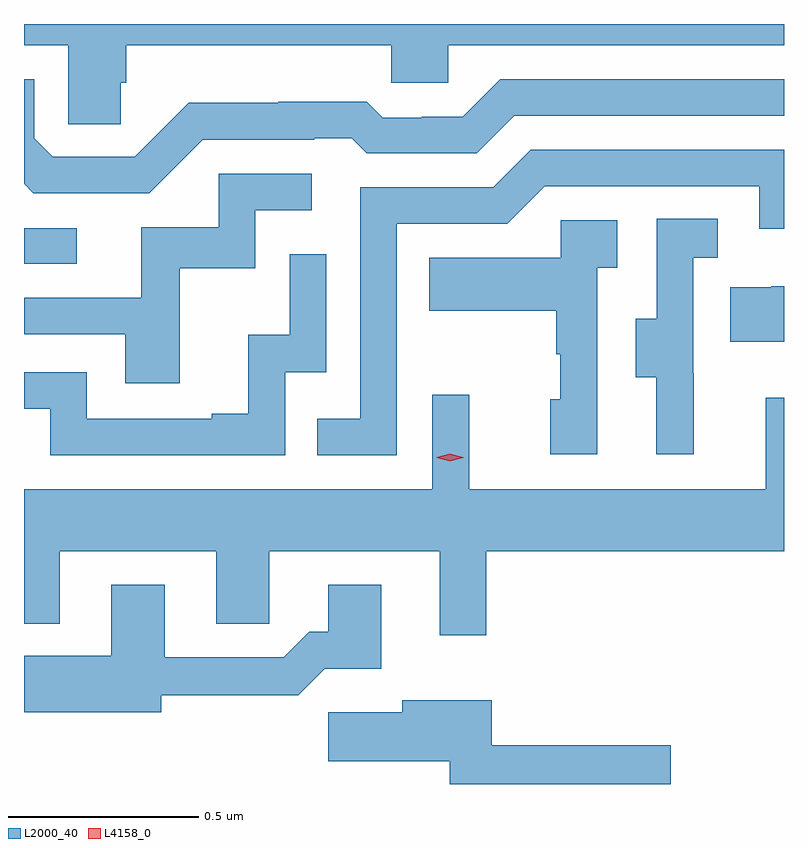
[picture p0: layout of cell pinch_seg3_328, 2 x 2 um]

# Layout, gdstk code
import gdstk
lib = gdstk.Library(unit=1e-6, precision=1e-09)
def R(c, l, rs):  # rectangles x0, y0, x1, y1
    for r in rs: c.add(gdstk.rectangle(r[:2], r[2:], *l))
def P(c, l, *ps):  # polygons
    for p in ps: c.add(gdstk.Polygon(p, *l))
L2000_40 = (2000, 40)
L4158_0 = (4158, 0)

pinch_seg3_328 = lib.new_cell('pinch_seg3_328')
R(pinch_seg3_328, L2000_40, [(994.977,716.325,995.116,716.418)])
P(pinch_seg3_328, L2000_40, [(995.231,716.802),(995.246,716.802),(995.246,716.9),(995.943,716.9),(995.943,716.802),(996.093,716.802),(996.093,716.9),(996.977,716.9),(996.977,716.956),(994.977,716.956),(994.977,716.9),(995.094,716.9),(995.094,716.692),(995.231,716.692)],
  [(995.448,716.652),(995.741,716.652),(995.741,716.655),(995.84,716.655),(995.879,716.616),(996.168,716.616),(996.267,716.715),(996.977,716.715),(996.977,716.811),(996.23,716.811),(996.131,716.712),(996.024,716.712),(996.024,716.709),(995.921,716.709),(995.879,716.752),(995.646,716.752),(995.646,716.749),(995.41,716.749),(995.268,716.607),(995.052,716.607),(995.004,716.655),(995.004,716.811),(994.977,716.811),(994.977,716.535),(995.001,716.511),(995.307,716.511)],
  [(995.958,716.43),(996.249,716.43),(996.348,716.529),(996.912,716.529),(996.912,716.417),(996.977,716.417),(996.977,716.625),(996.311,716.625),(996.212,716.526),(995.862,716.526),(995.862,715.917),(995.749,715.917),(995.749,715.821),(995.958,715.821)],
  [(995.387,716.313),(995.586,716.313),(995.586,716.466),(995.734,716.466),(995.734,716.562),(995.49,716.562),(995.49,716.421),(995.285,716.421),(995.285,716.235),(994.977,716.235),(994.977,716.139),(995.243,716.139),(995.243,716.01),(995.387,716.01)],
  [(996.74,716.037),(996.738,716.037),(996.738,716.341),(996.802,716.341),(996.802,716.444),(996.642,716.444),(996.642,716.181),(996.587,716.181),(996.587,716.026),(996.641,716.026),(996.641,715.824),(996.74,715.824)],
  [(996.486,716.315),(996.538,716.315),(996.538,716.439),(996.39,716.439),(996.39,716.341),(996.043,716.341),(996.043,716.201),(996.378,716.201),(996.378,716.087),(996.388,716.087),(996.388,715.968),(996.362,715.968),(996.362,715.824),(996.486,715.824)],
  [(995.664,716.04),(995.772,716.04),(995.772,716.35),(995.676,716.35),(995.676,716.138),(995.567,716.138),(995.567,715.93),(995.471,715.93),(995.471,715.917),(995.142,715.917),(995.142,716.04),(994.977,716.04),(994.977,715.944),(995.046,715.944),(995.046,715.821),(995.664,715.821)],
  [(996.977,716.266),(996.943,716.266),(996.943,716.263),(996.835,716.263),(996.835,716.12),(996.977,716.12)],
  [(996.193,715.568),(996.977,715.568),(996.977,715.972),(996.929,715.972),(996.929,715.732),(996.149,715.732),(996.149,715.981),(996.051,715.981),(996.051,715.732),(994.977,715.732),(994.977,715.378),(995.071,715.378),(995.071,715.568),(995.483,715.568),(995.483,715.378),(995.622,715.378),(995.622,715.568),(996.071,715.568),(996.071,715.347),(996.193,715.347)],
  [(995.338,715.19),(995.699,715.19),(995.768,715.259),(995.917,715.259),(995.917,715.48),(995.777,715.48),(995.777,715.357),(995.728,715.357),(995.661,715.29),(995.347,715.29),(995.347,715.48),(995.207,715.48),(995.207,715.293),(994.977,715.293),(994.977,715.145),(995.338,715.145)],
  [(996.679,715.058),(996.208,715.058),(996.208,715.177),(995.972,715.177),(995.972,715.145),(995.778,715.145),(995.778,715.016),(996.098,715.016),(996.098,714.956),(996.679,714.956)])
P(pinch_seg3_328, L4158_0, [(996.098,715.805),(996.063,715.815),(996.063,715.815),(996.063,715.816),(996.098,715.825),(996.133,715.816),(996.133,715.815),(996.133,715.815)])

lib.write_gds('pinch_seg3_328.gds')
